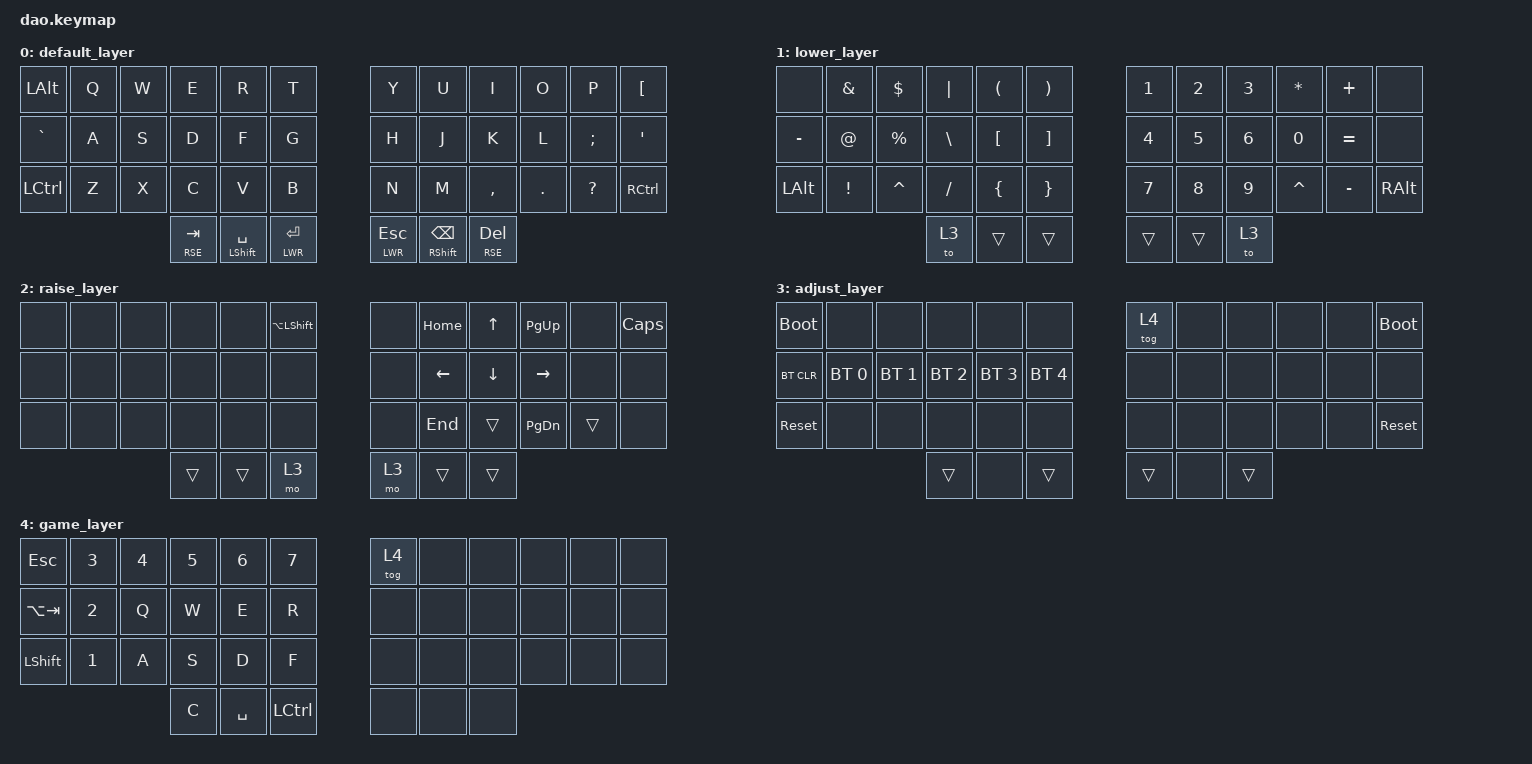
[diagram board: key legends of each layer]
/*
 * Copyright (c) 2021 Rafael Yumagulov
 *
 * SPDX-License-Identifier: MIT
 */

#include <behaviors.dtsi>
#include <dt-bindings/zmk/bt.h>
#include <dt-bindings/zmk/keys.h>

#define DEF 0
#define LWR 1
#define RSE 2
#define ADJ 3

&lt { quick_tap_ms = <200>; };

&mt { quick_tap_ms = <200>; };

/ {
    chosen {
        zmk,matrix_transform = &default_transform;

        // zmk,matrix_transform = &extra_keys_transform;
    };
};

/ {
    keymap {
        compatible = "zmk,keymap";

        default_layer {
            bindings = <
&kp LEFT_ALT      &kp Q  &kp W  &kp E        &kp R            &kp T        &kp Y        &kp U           &kp I        &kp O    &kp P      &kp LEFT_BRACKET
&kp GRAVE         &kp A  &kp S  &kp D        &kp F            &kp G        &kp H        &kp J           &kp K        &kp L    &kp SEMI   &kp SINGLE_QUOTE
&kp LEFT_CONTROL  &kp Z  &kp X  &kp C        &kp V            &kp B        &kp N        &kp M           &kp COMMA    &kp DOT  &kp QMARK  &kp RIGHT_CONTROL
                                &lt RSE TAB  &mt LSHFT SPACE  &lt LWR RET  &lt LWR ESC  &mt RSHFT BSPC  &lt RSE DEL
            >;
        };

        lower_layer {
            bindings = <
&none         &kp AMPERSAND    &kp DOLLAR   &kp PIPE       &kp LPAR          &kp RPAR           &kp NUMBER_1  &kp NUMBER_2  &kp NUMBER_3  &kp ASTERISK  &kp PLUS   &none
&kp MINUS     &kp AT_SIGN      &kp PERCENT  &kp BACKSLASH  &kp LEFT_BRACKET  &kp RIGHT_BRACKET  &kp NUMBER_4  &kp NUMBER_5  &kp NUMBER_6  &kp NUMBER_0  &kp EQUAL  &none
&kp LEFT_ALT  &kp EXCLAMATION  &kp CARET    &kp SLASH      &kp LEFT_BRACE    &kp RIGHT_BRACE    &kp NUMBER_7  &kp NUMBER_8  &kp NUMBER_9  &kp CARET     &kp MINUS  &kp RALT
                                            &to 3          &trans            &trans             &trans        &trans        &to 3
            >;
        };

        raise_layer {
            bindings = <
&none  &none  &none  &none   &none   &kp LA(LEFT_SHIFT)  &none  &kp HOME  &kp UP_ARROW    &kp PG_UP  &none   &kp CLCK
&none  &none  &none  &none   &none   &none               &none  &kp LEFT  &kp DOWN_ARROW  &kp RIGHT  &none   &none
&none  &none  &none  &none   &none   &none               &none  &kp END   &trans          &kp PG_DN  &trans  &none
                     &trans  &trans  &mo 3               &mo 3  &trans    &trans
            >;
        };

        adjust_layer {
            bindings = <
&bootloader  &none         &none         &none         &none         &none         &tog 4  &none  &none   &none  &none  &bootloader
&bt BT_CLR   &bt BT_SEL 0  &bt BT_SEL 1  &bt BT_SEL 2  &bt BT_SEL 3  &bt BT_SEL 4  &none   &none  &none   &none  &none  &none
&sys_reset   &none         &none         &none         &none         &none         &none   &none  &none   &none  &none  &sys_reset
                                         &trans        &none         &trans        &trans  &none  &trans
            >;
        };

        game_layer {
            bindings = <
&kp ESC         &kp NUMBER_3  &kp NUMBER_4  &kp N5  &kp NUMBER_6  &kp NUMBER_7      &tog 4  &none  &none  &none  &none  &none
&kp LA(TAB)     &kp NUMBER_2  &kp Q         &kp W   &kp E         &kp R             &none   &none  &none  &none  &none  &none
&kp LEFT_SHIFT  &kp NUMBER_1  &kp A         &kp S   &kp D         &kp F             &none   &none  &none  &none  &none  &none
                                            &kp C   &kp SPACE     &kp LEFT_CONTROL  &none   &none  &none
            >;
        };
    };
};
